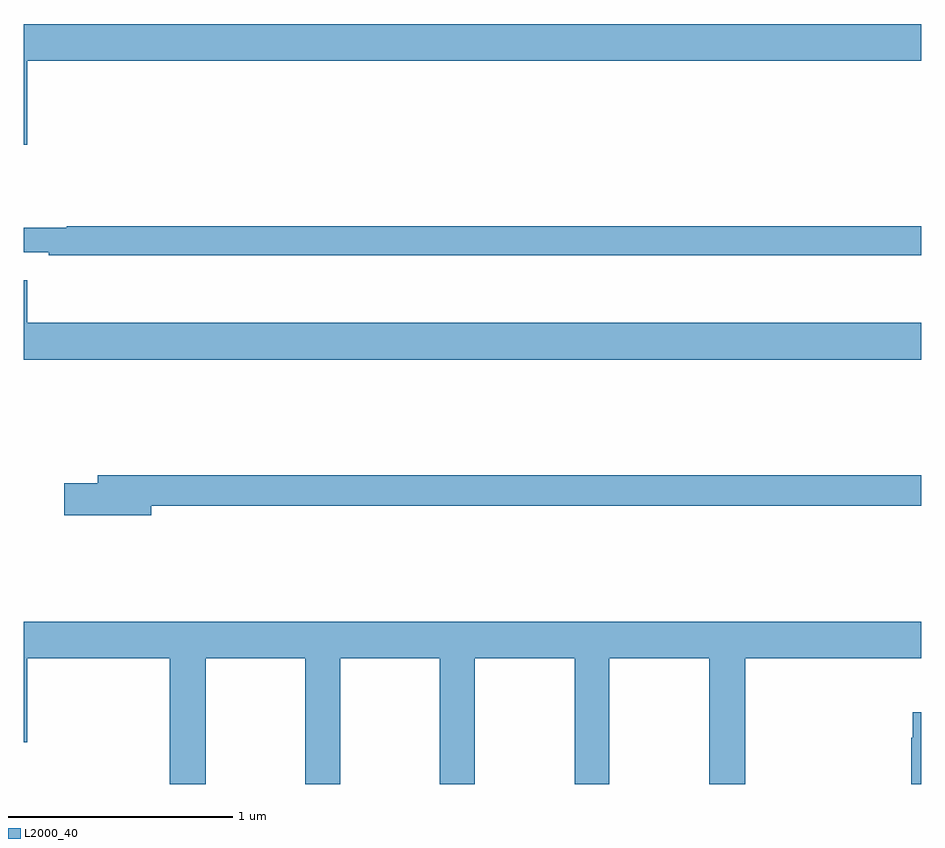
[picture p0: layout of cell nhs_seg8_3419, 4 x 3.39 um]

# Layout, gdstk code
import gdstk
lib = gdstk.Library(unit=1e-6, precision=1e-09)
def P(c, l, *ps):  # polygons
    for p in ps: c.add(gdstk.Polygon(p, *l))
L2000_40 = (2000, 40)

nhs_seg8_3419 = lib.new_cell('nhs_seg8_3419')
P(nhs_seg8_3419, L2000_40, [(321.016,1159.124),(325,1159.124),(325,1159.288),(321,1159.288),(321,1158.75),(321.016,1158.75)],
  [(325,1158.386),(321.191,1158.386),(321.191,1158.379),(321,1158.379),(321,1158.27),(321.112,1158.27),(321.112,1158.258),(325,1158.258)],
  [(325,1157.956),(321.016,1157.956),(321.016,1158.145),(321,1158.145),(321,1157.792),(325,1157.792)],
  [(321.568,1157.14),(325,1157.14),(325,1157.276),(321.329,1157.276),(321.329,1157.24),(321.18,1157.24),(321.18,1157.098),(321.568,1157.098)],
  [(321.81,1156.46),(322.255,1156.46),(322.255,1155.9),(322.41,1155.9),(322.41,1156.46),(322.855,1156.46),(322.855,1155.9),(323.01,1155.9),(323.01,1156.46),(323.455,1156.46),(323.455,1155.9),(323.61,1155.9),(323.61,1156.46),(324.055,1156.46),(324.055,1155.9),(324.215,1155.9),(324.215,1156.46),(325,1156.46),(325,1156.624),(321,1156.624),(321,1156.086),(321.016,1156.086),(321.016,1156.46),(321.65,1156.46),(321.65,1155.9),(321.81,1155.9)],
  [(325,1156.219),(324.963,1156.219),(324.963,1156.106),(324.955,1156.106),(324.955,1155.9),(325,1155.9)])

lib.write_gds('nhs_seg8_3419.gds')
